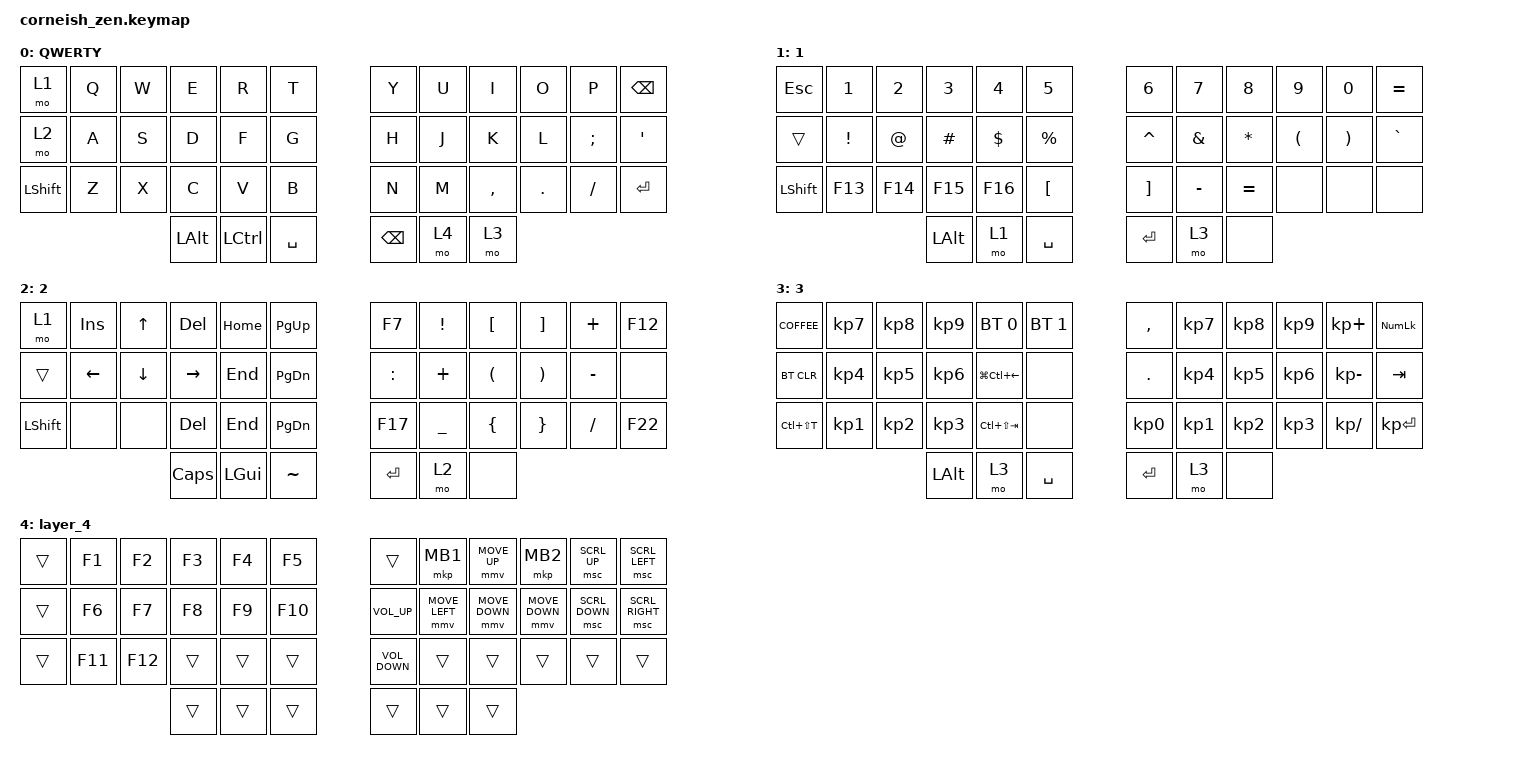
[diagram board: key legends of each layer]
#include <behaviors.dtsi>
#include <dt-bindings/zmk/bt.h>
#include <dt-bindings/zmk/keys.h>
#include <dt-bindings/zmk/pointing.h>

/ {
    chosen {
        zmk,matrix_transform = &default_transform;

        //zmk,matrix_transform = &five_column_transform;
    };
};

/ {
    combos {
        compatible = "zmk,combos";

        combo_adjust_layer {
            bindings = <&mo 3>;
            key-positions = <37 40>;
        };
    };

    keymap {
        compatible = "zmk,keymap";

        default_layer {
            label = "QWERTY";

            // -----------------------------------------------------------------------------------------
            // |  TAB |  Q  |  W  |  E  |  R  |  T  |   |  Y  |  U   |  I  |  O  |  P  | BKSP |
            // | CTRL |  A  |  S  |  D  |  F  |  G  |   |  H  |  J   |  K  |  L  |  ;  |  '   |
            // | SHFT |  Z  |  X  |  C  |  V  |  B  |   |  N  |  M   |  ,  |  .  |  /  | ESC  |
            //                    | GUI | LWR | SPC |   | ENT | RSE  | ALT |

            bindings = <
&mo 1      &kp Q  &kp W  &kp E     &kp R             &kp T        &kp Y          &kp U  &kp I      &kp O    &kp P     &kp BSPC
&mo 2      &kp A  &kp S  &kp D     &kp F             &kp G        &kp H          &kp J  &kp K      &kp L    &kp SEMI  &kp SQT
&kp LSHFT  &kp Z  &kp X  &kp C     &kp V             &kp B        &kp N          &kp M  &kp COMMA  &kp DOT  &kp FSLH  &kp RET
                         &kp LALT  &kp LEFT_CONTROL  &kp SPACE    &kp BACKSPACE  &mo 4  &mo 3
            >;
        };

        ONE {
            label = "1";

            // -----------------------------------------------------------------------------------------
            // |  TAB |  1  |  2  |  3  |  4  |  5  |   |  6  |  7  |  8  |  9  |  0  | BKSP |
            // | BTCLR| BT1 | BT2 | BT3 | BT4 | BT5 |   | LFT | DWN |  UP | RGT |     |      |
            // | SHFT |     |     |     |     |     |   |     |     |     |     |     |      |
            //                    | GUI |     | SPC |   | ENT |     | ALT |

            bindings = <
&kp ESC    &kp N1    &kp N2   &kp N3    &kp N4    &kp N5       &kp N6             &kp N7     &kp N8     &kp N9    &kp N0    &kp EQUAL
&trans     &kp EXCL  &kp AT   &kp HASH  &kp DLLR  &kp PRCNT    &kp CARET          &kp AMPS   &kp STAR   &kp LPAR  &kp RPAR  &kp GRAVE
&kp LSHFT  &kp F13   &kp F14  &kp F15   &kp F16   &kp LBKT     &kp RIGHT_BRACKET  &kp MINUS  &kp EQUAL  &none     &none     &none
                              &kp LALT  &mo 1     &kp SPACE    &kp ENTER          &mo 3      &none
            >;
        };

        TWO {
            label = "2";

            // -----------------------------------------------------------------------------------------
            // |  TAB |  !  |  @  |  #  |  $  |  %  |   |  ^  |  &  |  *  |  (  |  )  | BKSP |
            // | CTRL |     |     |     |     |     |   |  -  |  =  |  [  |  ]  |  \  |  `   |
            // | SHFT |     |     |     |     |     |   |  _  |  +  |  {  |  }  | "|" |  ~   |
            //                    | GUI |     | SPC |   | ENT |     | ALT |

            bindings = <
&mo 1      &kp INSERT  &kp UP_ARROW    &kp DEL     &kp HOME      &kp PAGE_UP      &kp F7     &kp EXCL   &kp LEFT_BRACKET      &kp RIGHT_BRACKET      &kp PLUS   &kp F12
&trans     &kp LEFT    &kp DOWN_ARROW  &kp RIGHT   &kp END       &kp PAGE_DOWN    &kp COLON  &kp PLUS   &kp LEFT_PARENTHESIS  &kp RIGHT_PARENTHESIS  &kp MINUS  &none
&kp LSHFT  &none       &none           &kp DELETE  &kp END       &kp PG_DN        &kp F17    &kp UNDER  &kp LEFT_BRACE        &kp RIGHT_BRACE        &kp SLASH  &kp F22
                                       &kp CLCK    &kp LEFT_GUI  &kp TILDE        &kp ENTER  &mo 2      &none
            >;
        };

        THREE {
            label = "3";

            // -----------------------------------------------------------------------------------------
            // |  TAB |  Q  |  W  |  E  |  R  |  T  |   |  Y  |  U   |  I  |  O  |  P  | BKSP |
            // | CTRL |  A  |  S  |  D  |  F  |  G  |   |  H  |  J   |  K  |  L  |  ;  |  '   |
            // | SHFT |  Z  |  X  |  C  |  V  |  B  |   |  N  |  M   |  ,  |  .  |  /  | ESC  |
            //                    | GUI | LWR | SPC |   | ENT | RSE  | ALT |

            bindings = <
&kp K_COFFEE   &kp KP_NUMBER_7  &kp KP_N8  &kp KP_N9  &bt BT_SEL 0      &bt BT_SEL 1    &kp COMMA        &kp KP_NUMBER_7  &kp KP_NUMBER_8  &kp KP_NUMBER_9  &kp KP_PLUS      &kp KP_NUMLOCK
&bt BT_CLR     &kp KP_N4        &kp KP_N5  &kp KP_N6  &kp LG(LC(LEFT))  &none           &kp PERIOD       &kp KP_NUMBER_4  &kp KP_NUMBER_5  &kp KP_NUMBER_6  &kp KP_SUBTRACT  &kp TAB
&kp LC(LS(T))  &kp KP_N1        &kp KP_N2  &kp KP_N3  &kp LC(LS(TAB))   &none           &kp KP_NUMBER_0  &kp KP_NUMBER_1  &kp KP_NUMBER_2  &kp KP_NUMBER_3  &kp KP_DIVIDE    &kp KP_ENTER
                                           &kp LALT   &mo 3             &kp SPACE       &kp RET          &mo 3            &none
            >;
        };

        layer_4 {
            bindings = <
&trans  &kp F1   &kp F2   &kp F3  &kp F4  &kp F5     &trans             &mkp MB1        &mmv MOVE_UP    &mkp MB2        &msc SCRL_UP    &msc SCRL_LEFT
&trans  &kp F6   &kp F7   &kp F8  &kp F9  &kp F10    &kp C_VOLUME_UP    &mmv MOVE_LEFT  &mmv MOVE_DOWN  &mmv MOVE_DOWN  &msc SCRL_DOWN  &msc SCRL_RIGHT
&trans  &kp F11  &kp F12  &trans  &trans  &trans     &kp C_VOLUME_DOWN  &trans          &trans          &trans          &trans          &trans
                          &trans  &trans  &trans     &trans             &trans          &trans
            >;
        };
    };

    conditional_layers {
        compatible = "zmk,conditional-layers";

        L4 {
            if-layers = <1 2>;
            then-layer = <4>;
        };
    };
};
